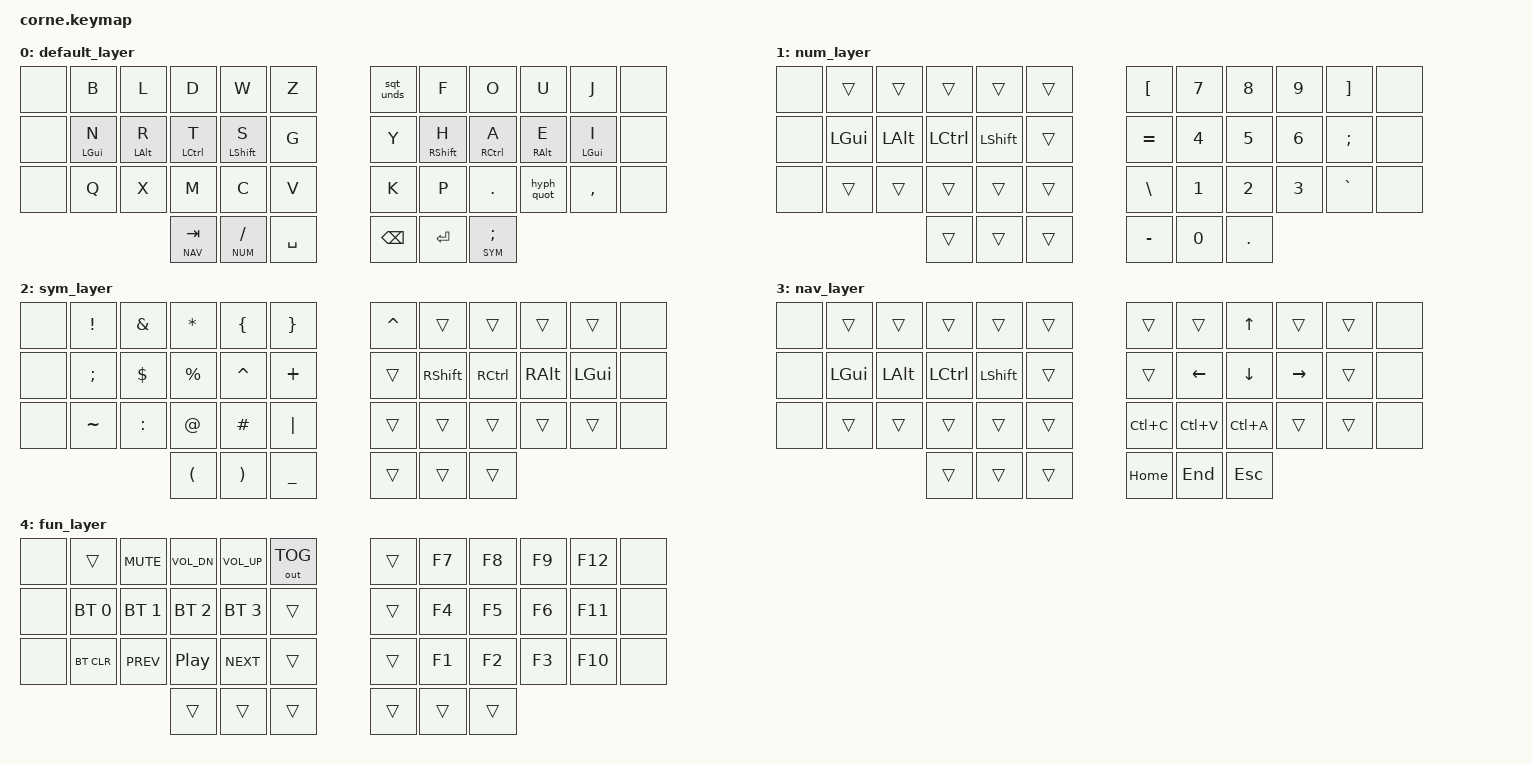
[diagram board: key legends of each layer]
/*
 * Copyright (c) 2020 The ZMK Contributors
 *
 * SPDX-License-Identifier: MIT
 */

#include <behaviors.dtsi>
#include <dt-bindings/zmk/keys.h>
#include <dt-bindings/zmk/bt.h>
#include <dt-bindings/zmk/outputs.h>

#define GRAPHITE 0
#define NUM 1
#define SYM 2
#define NAV 3
#define FUN 4

/ {
    conditional_layers {
        compatible = "zmk,conditional-layers";
        tri_layer {
            if-layers = <SYM NAV>;
            then-layer = <FUN>;
        };
    };
    behaviors {
        sqt_unds: apostrophe_underscore {
            compatible = "zmk,behavior-mod-morph";
            #binding-cells = <0>;
            bindings = <&kp SQT>, <&kp UNDER>;
            mods = <(MOD_LSFT|MOD_RSFT)>;
            keep-mods = <(MOD_RSFT)>;
        };
        hyph_quot: hyphen_doublequotes {
            compatible = "zmk,behavior-mod-morph";
            #binding-cells = <0>;
            bindings = <&kp MINUS>, <&kp DQT>;
            mods = <(MOD_LSFT|MOD_RSFT)>;
        };
        
    };

 

        keymap {
                compatible = "zmk,keymap";

                default_layer {
// -----------------------------------------------------------------------------------------
// |  none |  B  |  L  |  D  |  W  |  Z  |   |  '_  |  F   |  O  | U  |  J  | none |
// | none |  N  |  R  |  T  |  S  |  G  |   |  Y  |  H   |  A  |  E  |  I  |  none |
// | none |  Q  |  X  |  M  |  C  |  V  |   |  K  |  P   |  .  |  -"  |  ,  | none  |
//                    | TAB | / | SPC |   | Back | Enter  | ; |
                        bindings = <
   &none   &kp B &kp L &kp D &kp W &kp Z   &sqt_unds &kp F  &kp O     &kp U   &kp J    &none
   &none &mt LGUI N &mt LALT R &mt LCTRL T &mt LSHFT S &kp G   &kp Y &mt RSHFT H  &mt RCTRL A     &mt RALT E   &mt LGUI I &none
   &none &kp Q &kp X &kp M &kp C &kp V   &kp K &kp P  &kp DOT &hyph_quot &kp COMMA &none
                  &lt NAV TAB &lt NUM SLASH &kp SPACE   &kp BACKSPACE &kp ENTER &lt SYM SEMI
                        >;
                };
                num_layer {
// -----------------------------------------------------------------------------------------
// |  none |     |     |      |      |    |   |  [  |  7  |  8  |  9  |  ]  | none |
// | none  | GUI | ALT | CTRL | SFHT |    |   |  =  |  4  |  5  |  6  |  ;  | none |
// | none  |     |     |      |      |    |   |  \  |  1  |  2  |  3  |  `  | none |
//                     |      |      |    |   |  -  |  0  |  .  |
                        bindings = <
   &none    &trans  &trans     &trans     &trans   &trans     &kp LBKT   &kp N7   &kp N8 &kp N9    &kp RBKT &none
   &none &kp LGUI &kp LALT &kp LCTRL &kp LSHFT &trans         &kp EQUAL &kp N4 &kp N5 &kp N6 &kp SEMI &none
   &none  &trans       &trans       &trans       &trans      &trans &kp BSLH   &kp N1   &kp N2   &kp N3 &kp GRAVE  &none
                                &trans     &trans   &trans      &kp MINUS  &kp N0   &kp DOT
                        >;
                };

                sym_layer {
// -----------------------------------------------------------------------------------------
// | none |  !  |  &  |  *  |  {  |  }  |   |     |     |     |     |     |  none    |
// | none |  ;  |  $  |  %  |  ^  |  +  |   |     |     |     |     |     |  none    |
// | none |  ~  |  :  |  @  |  #  | "|" |   |     |     |     |     |     |  none    |
//                    |  (  |  )  |  _  |   |     |     |     |
                        bindings = <
   &none  &kp EXCL &kp AMPS &kp STAR &kp LBRC &kp RBRC   &kp CARET &trans  &trans &trans &trans &none
   &none &kp SEMI   &kp DLLR &kp PRCNT   &kp CARET   &kp PLUS      &trans &kp RSHFT &kp RCTRL  &kp RALT &kp LGUI &none
   &none &kp TILDE   &kp COLON &kp AT   &kp HASH   &kp PIPE      &trans &trans  &trans  &trans &trans &none
                             &kp LPAR &kp RPAR   &kp UNDER   &trans   &trans    &trans
                        >;
                };

                 nav_layer {
// -----------------------------------------------------------------------------------------
// | none |     |     |     |     |     |   |     |     |  UP   |     |     |  none    |
// | none | GUI | ALT | CTRL| SFHT|     |   |     |LEFT | DOWN  |RIGHT|     |  none    |
// | none |     |     |     |     |     |   | COPY|Paste|  C(A) |     |     |  none    |
//                    |     |     |     |   | HOME|  END|  ESC  |
                        bindings = <
   &none  &trans &trans &trans &trans &trans   &trans &trans  &kp UP &trans &trans &none
   &none &kp LGUI   &kp LALT &kp LCTRL   &kp LSHFT   &trans      &trans &kp LEFT &kp DOWN  &kp RIGHT &trans &none
   &none &trans   &trans &trans   &trans   &trans      &kp LC(C) &kp LC(V)  &kp LC(A)  &trans &trans &none
                             &trans &trans   &trans   &kp HOME   &kp END    &kp ESC
                        >;
                };

                 fun_layer {
// -----------------------------------------------------------------------------------------
// | none |      |  Mute  |  VOL DN  |  VOL UP  | Out TOG |   |     |  F7   |  F8   |  F9   | F12    | none     |
// | none |  BT0 |   BT1  |    BT2   |    BT3   |   BT4   |   |     |  F4   |  F5   |  F6   | F11    | none     |
// | none |BT CLR|  PREV  |    PP    |   NEXT   |         |   |     |  F1   |  F2   |  F3   | F10    | none     |
//                        |          |          |         |   |     |       |       |
                        bindings = <
   &none &trans &kp K_MUTE &kp C_VOL_DN &kp C_VOL_UP &out OUT_TOG    &trans &kp F7  &kp F8 &kp F9 &kp F12 &none
   &none &bt BT_SEL 0   &bt BT_SEL 1 &bt BT_SEL 2   &bt BT_SEL 3   &trans      &trans &kp F4 &kp F5  &kp F6 &kp F11 &none
   &none &bt BT_CLR   &kp C_PREV &kp C_PP   &kp C_NEXT   &trans      &trans &kp F1  &kp F2  &kp F3 &kp F10 &none
                             &trans &trans   &trans   &trans   &trans    &trans
                        >;
                };
        };
};
